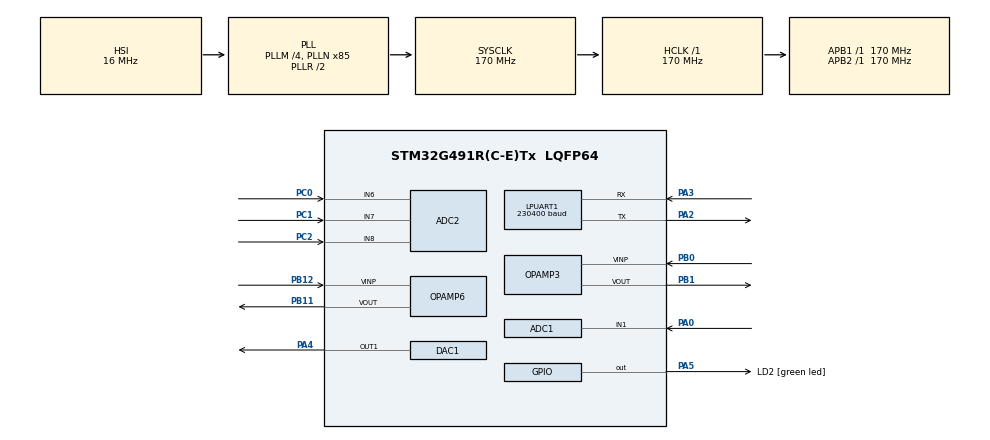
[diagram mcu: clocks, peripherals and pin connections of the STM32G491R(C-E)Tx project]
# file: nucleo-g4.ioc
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ADC1.Channel-7\#ChannelRegularConversion=ADC_CHANNEL_1
ADC1.ContinuousConvMode=DISABLE
ADC1.DMAContinuousRequests=ENABLE
ADC1.ExternalTrigConv=ADC_EXTERNALTRIG_T6_TRGO
ADC1.Mode=ADC_MODE_INDEPENDENT
ADC1.NbrOfConversionFlag=1
ADC1.OffsetNumber-7\#ChannelRegularConversion=ADC_OFFSET_NONE
ADC1.Rank-7\#ChannelRegularConversion=1
ADC1.SamplingTime-7\#ChannelRegularConversion=ADC_SAMPLETIME_2CYCLES_5
ADC1.master=1
ADC2.Channel-1\#ChannelRegularConversion=ADC_CHANNEL_6
ADC2.Channel-2\#ChannelRegularConversion=ADC_CHANNEL_7
ADC2.Channel-3\#ChannelRegularConversion=ADC_CHANNEL_8
ADC2.ContinuousConvMode=ENABLE
ADC2.DMAContinuousRequests=ENABLE
ADC2.DiscontinuousConvMode=DISABLE
ADC2.ExternalTrigConv=ADC_EXTERNALTRIG_T7_TRGO
ADC2.NbrOfConversion=3
ADC2.NbrOfConversionFlag=1
ADC2.OffsetNumber-1\#ChannelRegularConversion=ADC_OFFSET_NONE
ADC2.OffsetNumber-2\#ChannelRegularConversion=ADC_OFFSET_NONE
ADC2.OffsetNumber-3\#ChannelRegularConversion=ADC_OFFSET_NONE
ADC2.Overrun=ADC_OVR_DATA_PRESERVED
ADC2.Rank-1\#ChannelRegularConversion=1
ADC2.Rank-2\#ChannelRegularConversion=2
ADC2.Rank-3\#ChannelRegularConversion=3
ADC2.SamplingTime-1\#ChannelRegularConversion=ADC_SAMPLETIME_640CYCLES_5
ADC2.SamplingTime-2\#ChannelRegularConversion=ADC_SAMPLETIME_640CYCLES_5
ADC2.SamplingTime-3\#ChannelRegularConversion=ADC_SAMPLETIME_640CYCLES_5
DAC1.DAC_OutputBuffer-DAC_OUT1=DAC_OUTPUTBUFFER_ENABLE
DAC1.DAC_Trigger_OUT1-DAC_OUT1=DAC_TRIGGER_T6_TRGO
Dma.ADC1.0.Direction=DMA_PERIPH_TO_MEMORY
Dma.ADC1.0.EventEnable=DISABLE
Dma.ADC1.0.Instance=DMA1_Channel1
Dma.ADC1.0.MemDataAlignment=DMA_MDATAALIGN_WORD
Dma.ADC1.0.MemInc=DMA_MINC_ENABLE
Dma.ADC1.0.Mode=DMA_CIRCULAR
Dma.ADC1.0.PeriphDataAlignment=DMA_PDATAALIGN_HALFWORD
Dma.ADC1.0.PeriphInc=DMA_PINC_DISABLE
Dma.ADC1.0.Polarity=HAL_DMAMUX_REQ_GEN_RISING
Dma.ADC1.0.Priority=DMA_PRIORITY_HIGH
Dma.ADC1.0.RequestNumber=1
Dma.ADC1.0.SignalID=NONE
Dma.ADC1.0.SyncEnable=DISABLE
Dma.ADC1.0.SyncPolarity=HAL_DMAMUX_SYNC_NO_EVENT
Dma.ADC1.0.SyncRequestNumber=1
Dma.ADC1.0.SyncSignalID=NONE
Dma.ADC2.2.Direction=DMA_PERIPH_TO_MEMORY
Dma.ADC2.2.EventEnable=DISABLE
Dma.ADC2.2.Instance=DMA1_Channel3
Dma.ADC2.2.MemDataAlignment=DMA_MDATAALIGN_HALFWORD
Dma.ADC2.2.MemInc=DMA_MINC_ENABLE
Dma.ADC2.2.Mode=DMA_CIRCULAR
Dma.ADC2.2.PeriphDataAlignment=DMA_PDATAALIGN_HALFWORD
Dma.ADC2.2.PeriphInc=DMA_PINC_DISABLE
Dma.ADC2.2.Polarity=HAL_DMAMUX_REQ_GEN_RISING
Dma.ADC2.2.Priority=DMA_PRIORITY_LOW
Dma.ADC2.2.RequestNumber=1
Dma.ADC2.2.SignalID=NONE
Dma.ADC2.2.SyncEnable=DISABLE
Dma.ADC2.2.SyncPolarity=HAL_DMAMUX_SYNC_NO_EVENT
Dma.ADC2.2.SyncRequestNumber=1
Dma.ADC2.2.SyncSignalID=NONE
Dma.DAC1_CH1.1.Direction=DMA_MEMORY_TO_PERIPH
Dma.DAC1_CH1.1.EventEnable=DISABLE
Dma.DAC1_CH1.1.Instance=DMA1_Channel2
Dma.DAC1_CH1.1.MemDataAlignment=DMA_MDATAALIGN_WORD
Dma.DAC1_CH1.1.MemInc=DMA_MINC_ENABLE
Dma.DAC1_CH1.1.Mode=DMA_CIRCULAR
Dma.DAC1_CH1.1.PeriphDataAlignment=DMA_PDATAALIGN_WORD
Dma.DAC1_CH1.1.PeriphInc=DMA_PINC_DISABLE
Dma.DAC1_CH1.1.Polarity=HAL_DMAMUX_REQ_GEN_RISING
Dma.DAC1_CH1.1.Priority=DMA_PRIORITY_HIGH
Dma.DAC1_CH1.1.RequestNumber=1
Dma.DAC1_CH1.1.SignalID=NONE
Dma.DAC1_CH1.1.SyncEnable=DISABLE
Dma.DAC1_CH1.1.SyncPolarity=HAL_DMAMUX_SYNC_NO_EVENT
Dma.DAC1_CH1.1.SyncRequestNumber=1
Dma.DAC1_CH1.1.SyncSignalID=NONE
Dma.Request0=ADC1
Dma.Request1=DAC1_CH1
Dma.Request2=ADC2
LPUART1.BaudRate=230400
Mcu.Family=STM32G4
Mcu.Name=STM32G491R(C-E)Tx
Mcu.Package=LQFP64
NVIC.DMA1_Channel1_IRQn=true\:0\:0\:false\:false\:true\:false\:true\:true
NVIC.DMA1_Channel2_IRQn=true\:0\:0\:false\:false\:true\:false\:true\:true
NVIC.DMA1_Channel3_IRQn=true\:0\:0\:false\:false\:true\:false\:true\:true
NVIC.PriorityGroup=NVIC_PRIORITYGROUP_4
PA0.Mode=IN1-Single-Ended
PA0.Signal=ADC1_IN1
PA13.GPIO_Label=T_SWDIO
PA13.Mode=Serial_Wire
PA13.Signal=SYS_JTMS-SWDIO
PA14.GPIO_Label=T_SWCLK
PA14.Mode=Serial_Wire
PA14.Signal=SYS_JTCK-SWCLK
PA2.Mode=Asynchronous
PA2.Signal=LPUART1_TX
PA3.Mode=Asynchronous
PA3.Signal=LPUART1_RX
PA4.Signal=COMP_DAC11_group
PA5.GPIO_Label=LD2 [green led]
PA5.PinState=GPIO_PIN_SET
PA5.Signal=GPIO_Output
PB0.Mode=Follower
PB0.Signal=OPAMP3_VINP
PB1.Mode=Follower
PB1.Signal=OPAMP3_VOUT
PB11.Mode=Follower
PB11.Signal=OPAMP6_VOUT
PB12.Mode=Follower
PB12.Signal=OPAMP6_VINP
PB3.GPIO_Label=T_SWO
PB3.Signal=SYS_JTDO-SWO
PC0.Mode=IN6-Single-Ended
PC0.Signal=ADC2_IN6
PC1.Mode=IN7-Single-Ended
PC1.Signal=ADC2_IN7
PC2.Mode=IN8-Single-Ended
PC2.Signal=ADC2_IN8
ProjectManager.HeapSize=0x200
ProjectManager.StackSize=0x400
ProjectManager.TargetToolchain=STM32CubeIDE
RCC.ADC12Freq_Value=170000000
RCC.ADC345Freq_Value=170000000
RCC.AHBFreq_Value=170000000
RCC.APB1Freq_Value=170000000
RCC.APB1TimFreq_Value=170000000
RCC.APB2Freq_Value=170000000
RCC.APB2TimFreq_Value=170000000
RCC.CortexFreq_Value=170000000
RCC.EXTERNAL_CLOCK_VALUE=12288000
RCC.HCLKFreq_Value=170000000
RCC.HSE_VALUE=24000000
RCC.HSI48_VALUE=48000000
RCC.HSI_VALUE=16000000
RCC.LSE_VALUE=32768
RCC.PLLM=RCC_PLLM_DIV4
RCC.PLLN=85
RCC.RTCClockSelection=RCC_RTCCLKSOURCE_LSE
RCC.SYSCLKFreq_VALUE=170000000
RCC.SYSCLKSource=RCC_SYSCLKSOURCE_PLLCLK
RCC.USBFreq_Value=48000000
RCC.VCOOutputFreq_Value=340000000
SH.COMP_DAC11_group.0=DAC1_OUT1,DAC_OUT1
TIM6.PeriodNoDither=3854
TIM6.Prescaler=0
TIM6.TIM_MasterOutputTrigger=TIM_TRGO_UPDATE
TIM7.PeriodNoDither=1000-1
TIM7.Prescaler=170-1
TIM7.TIM_MasterOutputTrigger=TIM_TRGO_UPDATE
VP_SYS_VS_DBSignals.Mode=DisableDeadBatterySignals
VP_TIM6_VS_ClockSourceINT.Mode=Enable_Timer
VP_TIM7_VS_ClockSourceINT.Mode=Enable_Timer
board=NUCLEO-G491RE

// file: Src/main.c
/* USER CODE BEGIN Header */
/**
  ******************************************************************************
  * @file           : main.c
  * @brief          : Main program body
  ******************************************************************************
  * @attention
  *
  * Copyright (c) 2025 STMicroelectronics.
  * All rights reserved.
  *
  * This software is licensed under terms that can be found in the LICENSE file
  * in the root directory of this software component.
  * If no LICENSE file comes with this software, it is provided AS-IS.
  *
  ******************************************************************************
  */
/* USER CODE END Header */
#include "main.h"

/* USER CODE BEGIN Includes */

#include <math.h>
#include <stdio.h>
#include <stdlib.h>

/* USER CODE END Includes */

/* USER CODE BEGIN PD */
#define AUDIO_BUFFER_SIZE 256
#define POT_ADC_BUFFER_SIZE 3

/* USER CODE END PD */

ADC_HandleTypeDef hadc1;
ADC_HandleTypeDef hadc2;
DMA_HandleTypeDef hdma_adc1;
DMA_HandleTypeDef hdma_adc2;

DAC_HandleTypeDef hdac1;
DMA_HandleTypeDef hdma_dac1_ch1;

UART_HandleTypeDef hlpuart1;

OPAMP_HandleTypeDef hopamp3;
OPAMP_HandleTypeDef hopamp6;

TIM_HandleTypeDef htim6;
TIM_HandleTypeDef htim7;

/* USER CODE BEGIN PV */
uint32_t adc_buffer[AUDIO_BUFFER_SIZE];
uint32_t dac_buffer[AUDIO_BUFFER_SIZE];

uint16_t pot_dma_buffer[POT_ADC_BUFFER_SIZE];

/* USER CODE END PV */

void SystemClock_Config(void);
static void MX_GPIO_Init(void);
static void MX_DMA_Init(void);
static void MX_TIM6_Init(void);
static void MX_DAC1_Init(void);
static void MX_OPAMP3_Init(void);
static void MX_ADC1_Init(void);
static void MX_OPAMP6_Init(void);
static void MX_LPUART1_UART_Init(void);
static void MX_ADC2_Init(void);
static void MX_TIM7_Init(void);

/* USER CODE BEGIN 0 */
float map_knob_to_gain(uint16_t adc_val) {
  return 0.0f + (adc_val / 4095.0f) * 2.0f; // Maps 0–4095 to 0.0x–2.0x gain
}

/* USER CODE END 0 */

int main(void)
{

  /* MCU Configuration--------------------------------------------------------*/

  /* Reset of all peripherals, Initializes the Flash interface and the Systick. */
  HAL_Init();

  /* Configure the system clock */
  SystemClock_Config();

  /* Initialize all configured peripherals */
  MX_GPIO_Init();
  MX_DMA_Init();
  MX_TIM6_Init();
  MX_DAC1_Init();
  MX_OPAMP3_Init();
  MX_ADC1_Init();
  MX_OPAMP6_Init();
  MX_LPUART1_UART_Init();
  MX_ADC2_Init();
  MX_TIM7_Init();
  /* USER CODE BEGIN 2 */
  HAL_OPAMP_Start(&hopamp6);
  HAL_OPAMP_Start(&hopamp3);

  HAL_ADC_Start_DMA(&hadc2, (uint32_t*)pot_dma_buffer, POT_ADC_BUFFER_SIZE);

  HAL_ADC_Start_DMA(&hadc1, adc_buffer, AUDIO_BUFFER_SIZE);

  HAL_DAC_Start_DMA(&hdac1, DAC_CHANNEL_1, (uint32_t *)dac_buffer, AUDIO_BUFFER_SIZE, DAC_ALIGN_12B_R);

  HAL_TIM_Base_Start(&htim6);
  HAL_TIM_Base_Start(&htim7);

  /* USER CODE END 2 */

  /* Infinite loop */
  /* USER CODE BEGIN WHILE */
  while (1) {
    static uint32_t pot_timer = 0;

#define THRESHOLD 10

    static uint32_t prev_low = 0, prev_mid = 0, prev_high = 0;

    if (HAL_GetTick() - pot_timer > 500) {
      uint32_t avg_low = 0, avg_mid = 0, avg_high = 0;
      for (int i = 0; i < 10; ++i) {
        avg_low += pot_dma_buffer[0];
        avg_mid += pot_dma_buffer[1];
        avg_high += pot_dma_buffer[2];
        HAL_Delay(1);
      }

      avg_low /= 10;
      avg_mid /= 10;
      avg_high /= 10;

      if (abs((int)(avg_low - prev_low)) > THRESHOLD ||
          abs((int)(avg_mid - prev_mid)) > THRESHOLD ||
          abs((int)(avg_high - prev_high)) > THRESHOLD) {

        float low = map_knob_to_gain(avg_low);
        float mid =  map_knob_to_gain(avg_mid);
        float high =  map_knob_to_gain(avg_high);

        printf("L:%.2f M:%.2f H:%.2f\r\n", low, mid, high);

        prev_low = avg_low;
        prev_mid = avg_mid;
        prev_high = avg_high;
          }

      pot_timer = HAL_GetTick();
    }

    // static uint32_t pot_timer = 0;
    // if (HAL_GetTick() - pot_timer > 500) {
    //   printf("L:%u M:%u H:%u\r\n", pot_dma_buffer[0], pot_dma_buffer[1], pot_dma_buffer[2]);
    //   pot_timer = HAL_GetTick();
    // }

  // for (int i = 0; i < AUDIO_BUFFER_SIZE; ++i) {
  //   printf("%u,%u\n", adc_buffer[i], dac_buffer[i]);
  //   fflush(stdout);
  //   // HAL_Delay(1);
  // }

    /* USER CODE END WHILE */

  }
}

void SystemClock_Config(void)
{
  RCC_OscInitTypeDef RCC_OscInitStruct = {0};
  RCC_ClkInitTypeDef RCC_ClkInitStruct = {0};

  /** Configure the main internal regulator output voltage
  */
  HAL_PWREx_ControlVoltageScaling(PWR_REGULATOR_VOLTAGE_SCALE1_BOOST);

  /** Initializes the RCC Oscillators according to the specified parameters
  * in the RCC_OscInitTypeDef structure.
  */
  RCC_OscInitStruct.OscillatorType = RCC_OSCILLATORTYPE_HSI;
  RCC_OscInitStruct.HSIState = RCC_HSI_ON;
  RCC_OscInitStruct.HSICalibrationValue = RCC_HSICALIBRATION_DEFAULT;
  RCC_OscInitStruct.PLL.PLLState = RCC_PLL_ON;
  RCC_OscInitStruct.PLL.PLLSource = RCC_PLLSOURCE_HSI;
  RCC_OscInitStruct.PLL.PLLM = RCC_PLLM_DIV4;
  RCC_OscInitStruct.PLL.PLLN = 85;
  RCC_OscInitStruct.PLL.PLLP = RCC_PLLP_DIV2;
  RCC_OscInitStruct.PLL.PLLQ = RCC_PLLQ_DIV2;
  RCC_OscInitStruct.PLL.PLLR = RCC_PLLR_DIV2;
  if (HAL_RCC_OscConfig(&RCC_OscInitStruct) != HAL_OK)
  {
    Error_Handler();
  }

  /** Initializes the CPU, AHB and APB buses clocks
  */
  RCC_ClkInitStruct.ClockType = RCC_CLOCKTYPE_HCLK|RCC_CLOCKTYPE_SYSCLK
                              |RCC_CLOCKTYPE_PCLK1|RCC_CLOCKTYPE_PCLK2;
  RCC_ClkInitStruct.SYSCLKSource = RCC_SYSCLKSOURCE_PLLCLK;
  RCC_ClkInitStruct.AHBCLKDivider = RCC_SYSCLK_DIV1;
  RCC_ClkInitStruct.APB1CLKDivider = RCC_HCLK_DIV1;
  RCC_ClkInitStruct.APB2CLKDivider = RCC_HCLK_DIV1;

  if (HAL_RCC_ClockConfig(&RCC_ClkInitStruct, FLASH_LATENCY_4) != HAL_OK)
  {
    Error_Handler();
  }
}

static void MX_ADC1_Init(void)
{

  ADC_MultiModeTypeDef multimode = {0};
  ADC_ChannelConfTypeDef sConfig = {0};

  /** Common config
  */
  hadc1.Instance = ADC1;
  hadc1.Init.ClockPrescaler = ADC_CLOCK_SYNC_PCLK_DIV4;
  hadc1.Init.Resolution = ADC_RESOLUTION_12B;
  hadc1.Init.DataAlign = ADC_DATAALIGN_RIGHT;
  hadc1.Init.GainCompensation = 0;
  hadc1.Init.ScanConvMode = ADC_SCAN_DISABLE;
  hadc1.Init.EOCSelection = ADC_EOC_SINGLE_CONV;
  hadc1.Init.LowPowerAutoWait = DISABLE;
  hadc1.Init.ContinuousConvMode = DISABLE;
  hadc1.Init.NbrOfConversion = 1;
  hadc1.Init.DiscontinuousConvMode = DISABLE;
  hadc1.Init.ExternalTrigConv = ADC_EXTERNALTRIG_T6_TRGO;
  hadc1.Init.ExternalTrigConvEdge = ADC_EXTERNALTRIGCONVEDGE_RISING;
  hadc1.Init.DMAContinuousRequests = ENABLE;
  hadc1.Init.Overrun = ADC_OVR_DATA_PRESERVED;
  hadc1.Init.OversamplingMode = DISABLE;
  if (HAL_ADC_Init(&hadc1) != HAL_OK)
  {
    Error_Handler();
  }

  /** Configure the ADC multi-mode
  */
  multimode.Mode = ADC_MODE_INDEPENDENT;
  if (HAL_ADCEx_MultiModeConfigChannel(&hadc1, &multimode) != HAL_OK)
  {
    Error_Handler();
  }

  /** Configure Regular Channel
  */
  sConfig.Channel = ADC_CHANNEL_1;
  sConfig.Rank = ADC_REGULAR_RANK_1;
  sConfig.SamplingTime = ADC_SAMPLETIME_2CYCLES_5;
  sConfig.SingleDiff = ADC_SINGLE_ENDED;
  sConfig.OffsetNumber = ADC_OFFSET_NONE;
  sConfig.Offset = 0;
  if (HAL_ADC_ConfigChannel(&hadc1, &sConfig) != HAL_OK)
  {
    Error_Handler();
  }

}

static void MX_ADC2_Init(void)
{

  ADC_ChannelConfTypeDef sConfig = {0};

  /** Common config
  */
  hadc2.Instance = ADC2;
  hadc2.Init.ClockPrescaler = ADC_CLOCK_SYNC_PCLK_DIV4;
  hadc2.Init.Resolution = ADC_RESOLUTION_12B;
  hadc2.Init.DataAlign = ADC_DATAALIGN_RIGHT;
  hadc2.Init.GainCompensation = 0;
  hadc2.Init.ScanConvMode = ADC_SCAN_ENABLE;
  hadc2.Init.EOCSelection = ADC_EOC_SINGLE_CONV;
  hadc2.Init.LowPowerAutoWait = DISABLE;
  hadc2.Init.ContinuousConvMode = ENABLE;
  hadc2.Init.NbrOfConversion = 3;
  hadc2.Init.DiscontinuousConvMode = DISABLE;
  hadc2.Init.ExternalTrigConv = ADC_EXTERNALTRIG_T7_TRGO;
  hadc2.Init.ExternalTrigConvEdge = ADC_EXTERNALTRIGCONVEDGE_RISING;
  hadc2.Init.DMAContinuousRequests = ENABLE;
  hadc2.Init.Overrun = ADC_OVR_DATA_PRESERVED;
  hadc2.Init.OversamplingMode = DISABLE;
  if (HAL_ADC_Init(&hadc2) != HAL_OK)
  {
    Error_Handler();
  }

  /** Configure Regular Channel
  */
  sConfig.Channel = ADC_CHANNEL_6;
  sConfig.Rank = ADC_REGULAR_RANK_1;
  sConfig.SamplingTime = ADC_SAMPLETIME_640CYCLES_5;
  sConfig.SingleDiff = ADC_SINGLE_ENDED;
  sConfig.OffsetNumber = ADC_OFFSET_NONE;
  sConfig.Offset = 0;
  if (HAL_ADC_ConfigChannel(&hadc2, &sConfig) != HAL_OK)
  {
    Error_Handler();
  }

  /** Configure Regular Channel
  */
  sConfig.Channel = ADC_CHANNEL_7;
  sConfig.Rank = ADC_REGULAR_RANK_2;
  if (HAL_ADC_ConfigChannel(&hadc2, &sConfig) != HAL_OK)
  {
    Error_Handler();
  }

  /** Configure Regular Channel
  */
  sConfig.Channel = ADC_CHANNEL_8;
  sConfig.Rank = ADC_REGULAR_RANK_3;
  if (HAL_ADC_ConfigChannel(&hadc2, &sConfig) != HAL_OK)
  {
    Error_Handler();
  }

}

static void MX_DAC1_Init(void)
{

  DAC_ChannelConfTypeDef sConfig = {0};

  /** DAC Initialization
  */
  hdac1.Instance = DAC1;
  if (HAL_DAC_Init(&hdac1) != HAL_OK)
  {
    Error_Handler();
  }

  /** DAC channel OUT1 config
  */
  sConfig.DAC_HighFrequency = DAC_HIGH_FREQUENCY_INTERFACE_MODE_AUTOMATIC;
  sConfig.DAC_DMADoubleDataMode = DISABLE;
  sConfig.DAC_SignedFormat = DISABLE;
  sConfig.DAC_SampleAndHold = DAC_SAMPLEANDHOLD_DISABLE;
  sConfig.DAC_Trigger = DAC_TRIGGER_T6_TRGO;
  sConfig.DAC_Trigger2 = DAC_TRIGGER_NONE;
  sConfig.DAC_OutputBuffer = DAC_OUTPUTBUFFER_ENABLE;
  sConfig.DAC_ConnectOnChipPeripheral = DAC_CHIPCONNECT_EXTERNAL;
  sConfig.DAC_UserTrimming = DAC_TRIMMING_FACTORY;
  if (HAL_DAC_ConfigChannel(&hdac1, &sConfig, DAC_CHANNEL_1) != HAL_OK)
  {
    Error_Handler();
  }

}

static void MX_LPUART1_UART_Init(void)
{

  hlpuart1.Instance = LPUART1;
  hlpuart1.Init.BaudRate = 230400;
  hlpuart1.Init.WordLength = UART_WORDLENGTH_8B;
  hlpuart1.Init.StopBits = UART_STOPBITS_1;
  hlpuart1.Init.Parity = UART_PARITY_NONE;
  hlpuart1.Init.Mode = UART_MODE_TX_RX;
  hlpuart1.Init.HwFlowCtl = UART_HWCONTROL_NONE;
  hlpuart1.Init.OneBitSampling = UART_ONE_BIT_SAMPLE_DISABLE;
  hlpuart1.Init.ClockPrescaler = UART_PRESCALER_DIV1;
  hlpuart1.AdvancedInit.AdvFeatureInit = UART_ADVFEATURE_NO_INIT;
  if (HAL_UART_Init(&hlpuart1) != HAL_OK)
  {
    Error_Handler();
  }
  if (HAL_UARTEx_SetTxFifoThreshold(&hlpuart1, UART_TXFIFO_THRESHOLD_1_8) != HAL_OK)
  {
    Error_Handler();
  }
  if (HAL_UARTEx_SetRxFifoThreshold(&hlpuart1, UART_RXFIFO_THRESHOLD_1_8) != HAL_OK)
  {
    Error_Handler();
  }
  if (HAL_UARTEx_DisableFifoMode(&hlpuart1) != HAL_OK)
  {
    Error_Handler();
  }

}

static void MX_OPAMP3_Init(void)
{

  hopamp3.Instance = OPAMP3;
  hopamp3.Init.PowerMode = OPAMP_POWERMODE_NORMALSPEED;
  hopamp3.Init.Mode = OPAMP_FOLLOWER_MODE;
  hopamp3.Init.NonInvertingInput = OPAMP_NONINVERTINGINPUT_IO0;
  hopamp3.Init.InternalOutput = DISABLE;
  hopamp3.Init.TimerControlledMuxmode = OPAMP_TIMERCONTROLLEDMUXMODE_DISABLE;
  hopamp3.Init.UserTrimming = OPAMP_TRIMMING_FACTORY;
  if (HAL_OPAMP_Init(&hopamp3) != HAL_OK)
  {
    Error_Handler();
  }

}

static void MX_OPAMP6_Init(void)
{

  hopamp6.Instance = OPAMP6;
  hopamp6.Init.PowerMode = OPAMP_POWERMODE_NORMALSPEED;
  hopamp6.Init.Mode = OPAMP_FOLLOWER_MODE;
  hopamp6.Init.NonInvertingInput = OPAMP_NONINVERTINGINPUT_IO0;
  hopamp6.Init.InternalOutput = DISABLE;
  hopamp6.Init.TimerControlledMuxmode = OPAMP_TIMERCONTROLLEDMUXMODE_DISABLE;
  hopamp6.Init.UserTrimming = OPAMP_TRIMMING_FACTORY;
  if (HAL_OPAMP_Init(&hopamp6) != HAL_OK)
  {
    Error_Handler();
  }

}

static void MX_TIM6_Init(void)
{

  TIM_MasterConfigTypeDef sMasterConfig = {0};

  htim6.Instance = TIM6;
  htim6.Init.Prescaler = 0;
  htim6.Init.CounterMode = TIM_COUNTERMODE_UP;
  htim6.Init.Period = 3854;
  htim6.Init.AutoReloadPreload = TIM_AUTORELOAD_PRELOAD_DISABLE;
  if (HAL_TIM_Base_Init(&htim6) != HAL_OK)
  {
    Error_Handler();
  }
  sMasterConfig.MasterOutputTrigger = TIM_TRGO_UPDATE;
  sMasterConfig.MasterSlaveMode = TIM_MASTERSLAVEMODE_DISABLE;
  if (HAL_TIMEx_MasterConfigSynchronization(&htim6, &sMasterConfig) != HAL_OK)
  {
    Error_Handler();
  }

}

static void MX_TIM7_Init(void)
{

  TIM_MasterConfigTypeDef sMasterConfig = {0};

  htim7.Instance = TIM7;
  htim7.Init.Prescaler = 170-1;
  htim7.Init.CounterMode = TIM_COUNTERMODE_UP;
  htim7.Init.Period = 999;
  htim7.Init.AutoReloadPreload = TIM_AUTORELOAD_PRELOAD_DISABLE;
  if (HAL_TIM_Base_Init(&htim7) != HAL_OK)
  {
    Error_Handler();
  }
  sMasterConfig.MasterOutputTrigger = TIM_TRGO_UPDATE;
  sMasterConfig.MasterSlaveMode = TIM_MASTERSLAVEMODE_DISABLE;
  if (HAL_TIMEx_MasterConfigSynchronization(&htim7, &sMasterConfig) != HAL_OK)
  {
    Error_Handler();
  }

}

static void MX_DMA_Init(void)
{

  /* DMA controller clock enable */
  __HAL_RCC_DMAMUX1_CLK_ENABLE();
  __HAL_RCC_DMA1_CLK_ENABLE();

  /* DMA interrupt init */
  /* DMA1_Channel1_IRQn interrupt configuration */
  HAL_NVIC_SetPriority(DMA1_Channel1_IRQn, 0, 0);
  HAL_NVIC_EnableIRQ(DMA1_Channel1_IRQn);
  /* DMA1_Channel2_IRQn interrupt configuration */
  HAL_NVIC_SetPriority(DMA1_Channel2_IRQn, 0, 0);
  HAL_NVIC_EnableIRQ(DMA1_Channel2_IRQn);
  /* DMA1_Channel3_IRQn interrupt configuration */
  HAL_NVIC_SetPriority(DMA1_Channel3_IRQn, 0, 0);
  HAL_NVIC_EnableIRQ(DMA1_Channel3_IRQn);

}

static void MX_GPIO_Init(void)
{
  GPIO_InitTypeDef GPIO_InitStruct = {0};

  /* GPIO Ports Clock Enable */
  __HAL_RCC_GPIOC_CLK_ENABLE();
  __HAL_RCC_GPIOA_CLK_ENABLE();
  __HAL_RCC_GPIOB_CLK_ENABLE();

  /*Configure GPIO pin Output Level */
  HAL_GPIO_WritePin(LD2_GPIO_Port, LD2_Pin, GPIO_PIN_SET);

  /*Configure GPIO pin : LD2_Pin */
  GPIO_InitStruct.Pin = LD2_Pin;
  GPIO_InitStruct.Mode = GPIO_MODE_OUTPUT_PP;
  GPIO_InitStruct.Pull = GPIO_NOPULL;
  GPIO_InitStruct.Speed = GPIO_SPEED_FREQ_LOW;
  HAL_GPIO_Init(LD2_GPIO_Port, &GPIO_InitStruct);

}

/* USER CODE BEGIN 4 */

int __io_putchar(int ch)
{
  HAL_UART_Transmit(&hlpuart1, (uint8_t *)&ch, 1, HAL_MAX_DELAY);
  return ch;
}

void HAL_ADC_ConvHalfCpltCallback(ADC_HandleTypeDef* hadc) {

  // HAL_GPIO_TogglePin(LD2_GPIO_Port, LD2_Pin);

  for (int i = 0; i < AUDIO_BUFFER_SIZE / 2; i++) {
    // dac_buffer[i] = adc_buffer[i] / 2 + 931;
    // dac_buffer[i] = adc_buffer[i] / 2;
    // dac_buffer[i] = adc_buffer[i] + 931;
    // dac_buffer[i] = adc_buffer[i] >> 1;
    // dac_buffer[i] = adc_buffer[i] + 931 >> 1;
    dac_buffer[i] = adc_buffer[i];
  }
}

void HAL_ADC_ConvCpltCallback(ADC_HandleTypeDef* hadc) {

  for (int i = AUDIO_BUFFER_SIZE / 2; i < AUDIO_BUFFER_SIZE; i++) {
    // dac_buffer[i] = adc_buffer[i] / 2 + 931;
    // dac_buffer[i] = adc_buffer[i] / 2;
    // dac_buffer[i] = adc_buffer[i] + 931;
    // dac_buffer[i] = adc_buffer[i] >> 1;
    // dac_buffer[i] = adc_buffer[i] + 931 >> 1;
    dac_buffer[i] = adc_buffer[i];
  }
}

/* USER CODE END 4 */

void Error_Handler(void)
{
  __disable_irq();
  while (1)
  {
  }
}
